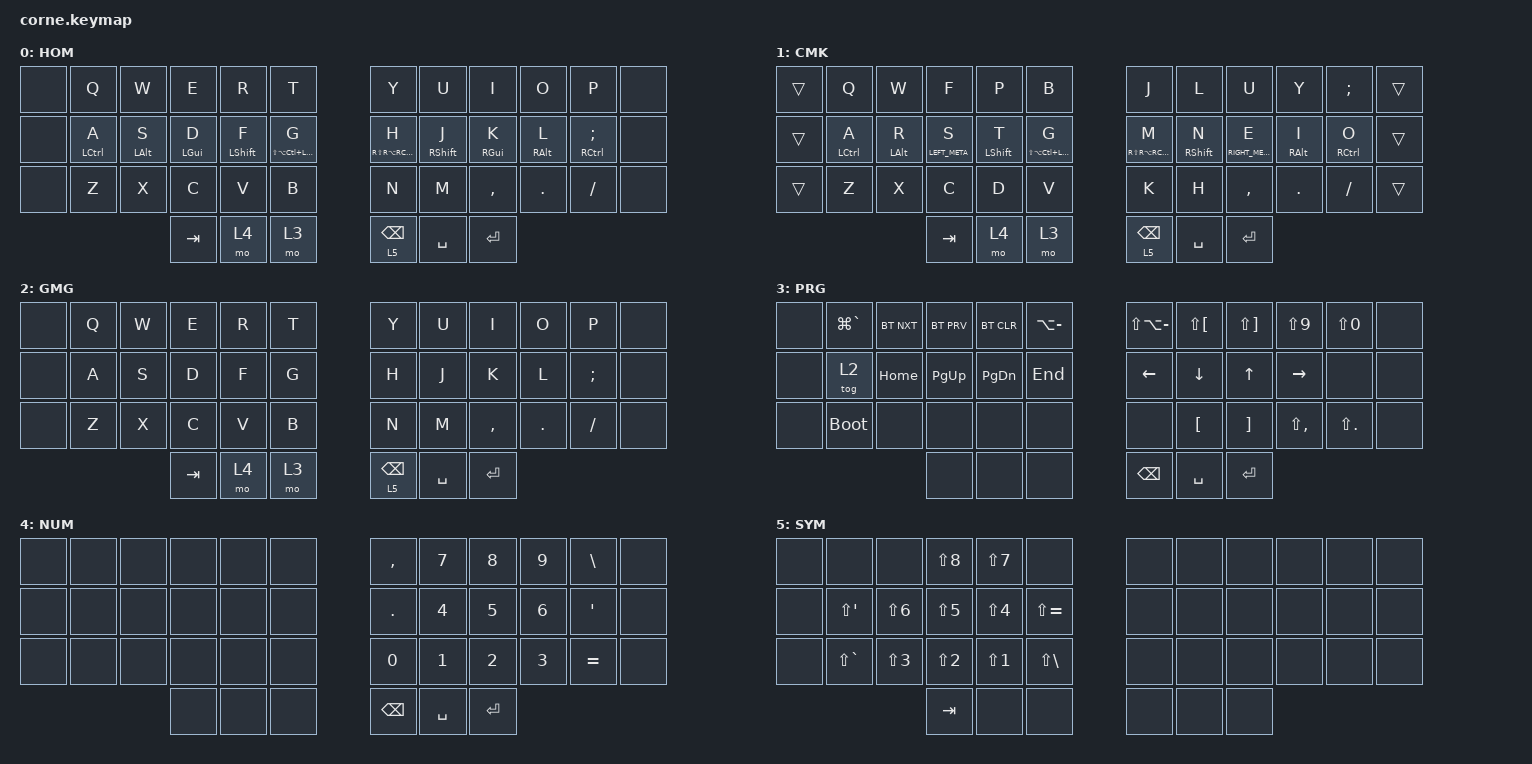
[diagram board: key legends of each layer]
/*
 * Copyright (c) 2020 The ZMK Contributors
 *
 * SPDX-License-Identifier: MIT
 */

#include <behaviors.dtsi>
#include <dt-bindings/zmk/bt.h>
#include <dt-bindings/zmk/keys.h>

&lt {
    quick-tap-ms = <200>;
};

/ {
    combos {
        compatible = "zmk,combos";

        grave {
            bindings = <&kp GRAVE>;
            key-positions = <1 10>;
            layers = <0 2 1>;
        };

        escape {
            bindings = <&kp ESCAPE>;
            key-positions = <13 22>;
            layers = <0 2 1>;
        };

        caps_word {
            bindings = <&caps_word>;
            key-positions = <25 34>;
            layers = <0 2 1>;
        };

        minus {
            bindings = <&kp MINUS>;
            key-positions = <4 7>;
            layers = <0 2 1>;
        };

        underscore {
            bindings = <&kp LS(MINUS)>;
            key-positions = <28 31>;
            layers = <0 2 1>;
        };

        toggle_tarmak {
            bindings = <&tog 1>;
            key-positions = <38 39>;
            layers = <0 1>;
        };
    };

    behaviors {
        left_hand_positional_hold_tap: left_hand_positional_hold_tap {
            compatible = "zmk,behavior-hold-tap";
            label = "LEFT_HAND_POSITIONAL_HOLD_TAP";
            bindings = <&kp>, <&kp>;

            #binding-cells = <2>;
            tapping-term-ms = <280>;
            flavor = "balanced";
            quick-tap-ms = <175>;
            hold-trigger-key-positions = <6 18 30 6 7 8 9 10 18 19 20 21 22 30 31 32 33 34 39 40 41 6 7 8 9 10 11 18 19 20 21 22 23 30 31 32 33 34 35 39 40 41 36 37 38 13 15 14 16>;
            hold-trigger-on-release;
            require-prior-idle-ms = <150>;
        };

        right_hand_positional_hold_tap: right_hand_positional_hold_tap {
            compatible = "zmk,behavior-hold-tap";
            label = "RIGHT_HAND_POSITIONAL_HOLD_TAP";
            bindings = <&kp>, <&kp>;

            #binding-cells = <2>;
            tapping-term-ms = <280>;
            quick-tap-ms = <175>;
            flavor = "balanced";
            hold-trigger-key-positions = <1 2 3 4 5 13 14 15 16 17 25 26 27 28 29 36 37 38 0 1 2 3 4 5 12 13 14 15 16 17 24 25 26 27 28 29 36 37 38 39 40 41 19 20 21 22>;
            hold-trigger-on-release;
            require-prior-idle-ms = <150>;
        };
    };

    keymap {
        compatible = "zmk,keymap";

        home {
            // -----------------------------------------------------------------------------------------
            // |  TAB |  Q  |  W  |  E  |  R  |  T  |   |  Y  |  U   |  I  |  O  |  P  | BKSP |
            // | CTRL |  A  |  S  |  D  |  F  |  G  |   |  H  |  J   |  K  |  L  |  ;  |  '   |
            // | SHFT |  Z  |  X  |  C  |  V  |  B  |   |  N  |  M   |  ,  |  .  |  /  | ESC  |
            //                    | GUI | LWR | SPC |   | ENT | RSE  | ALT |

            bindings = <
&none  &kp Q                                          &kp W                                      &kp E                                      &kp R                                        &kp T                                                    &kp Y                                                    &kp U                                          &kp I                                        &kp O                                        &kp P                                                    &none
&none  &left_hand_positional_hold_tap LEFT_CONTROL A  &left_hand_positional_hold_tap LEFT_ALT S  &left_hand_positional_hold_tap LEFT_GUI D  &left_hand_positional_hold_tap LEFT_SHIFT F  &left_hand_positional_hold_tap LS(LA(LC(LEFT_GUI))) G    &right_hand_positional_hold_tap RS(RA(RC(RIGHT_GUI))) H  &right_hand_positional_hold_tap RIGHT_SHIFT J  &right_hand_positional_hold_tap RIGHT_GUI K  &right_hand_positional_hold_tap RIGHT_ALT L  &right_hand_positional_hold_tap RIGHT_CONTROL SEMICOLON  &none
&none  &kp Z                                          &kp X                                      &kp C                                      &kp V                                        &kp B                                                    &kp N                                                    &kp M                                          &kp COMMA                                    &kp DOT                                      &kp FSLH                                                 &none
                                                                                                 &kp TAB                                    &mo 4                                        &mo 3                                                    &lt 5 BACKSPACE                                          &kp SPACE                                      &kp ENTER
            >;

            label = "HOM";
        };

        colemak {
            bindings = <
&trans  &kp Q                                          &kp W                                      &kp F                                       &kp P                                        &kp B                                                     &kp J                                                     &kp L                                          &kp U                                         &kp Y                                        &kp SEMI                                         &trans
&trans  &left_hand_positional_hold_tap LEFT_CONTROL A  &left_hand_positional_hold_tap LEFT_ALT R  &left_hand_positional_hold_tap LEFT_META S  &left_hand_positional_hold_tap LEFT_SHIFT T  &left_hand_positional_hold_tap LS(LA(LC(LEFT_META))) G    &right_hand_positional_hold_tap RS(RA(RC(RIGHT_META))) M  &right_hand_positional_hold_tap RIGHT_SHIFT N  &right_hand_positional_hold_tap RIGHT_META E  &right_hand_positional_hold_tap RIGHT_ALT I  &right_hand_positional_hold_tap RIGHT_CONTROL O  &trans
&trans  &kp Z                                          &kp X                                      &kp C                                       &kp D                                        &kp V                                                     &kp K                                                     &kp H                                          &kp COMMA                                     &kp DOT                                      &kp FSLH                                         &trans
                                                                                                  &kp TAB                                     &mo 4                                        &mo 3                                                     &lt 5 BACKSPACE                                           &kp SPACE                                      &kp ENTER
            >;

            label = "CMK";
        };

        gaming {
            bindings = <
&none  &kp Q  &kp W  &kp E    &kp R  &kp T    &kp Y            &kp U      &kp I      &kp O    &kp P     &none
&none  &kp A  &kp S  &kp D    &kp F  &kp G    &kp H            &kp J      &kp K      &kp L    &kp SEMI  &none
&none  &kp Z  &kp X  &kp C    &kp V  &kp B    &kp N            &kp M      &kp COMMA  &kp DOT  &kp FSLH  &none
                     &kp TAB  &mo 4  &mo 3    &lt 5 BACKSPACE  &kp SPACE  &kp ENTER
            >;

            label = "GMG";
        };

        programming {
            bindings = <
&none  &kp LG(GRAVE)  &bt BT_NXT  &bt BT_PRV   &bt BT_CLR     &kp LA(MINUS)    &kp LS(LA(MINUS))  &kp LS(LEFT_BRACKET)  &kp LS(RIGHT_BRACKET)  &kp LS(NUMBER_9)  &kp LS(NUMBER_0)  &none
&none  &tog 2         &kp HOME    &kp PAGE_UP  &kp PAGE_DOWN  &kp END          &kp LEFT_ARROW     &kp DOWN_ARROW        &kp UP_ARROW           &kp RIGHT_ARROW   &none             &none
&none  &bootloader    &none       &none        &none          &none            &none              &kp LEFT_BRACKET      &kp RIGHT_BRACKET      &kp LS(COMMA)     &kp LS(PERIOD)    &none
                                  &none        &none          &none            &kp BACKSPACE      &kp SPACE             &kp ENTER
            >;

            label = "PRG";
        };

        numbers {
            bindings = <
&none  &none  &none  &none  &none  &none    &kp COMMA      &kp N7     &kp N8     &kp N9  &kp BACKSLASH     &none
&none  &none  &none  &none  &none  &none    &kp DOT        &kp N4     &kp N5     &kp N6  &kp SINGLE_QUOTE  &none
&none  &none  &none  &none  &none  &none    &kp N0         &kp N1     &kp N2     &kp N3  &kp EQUAL         &none
                     &none  &none  &none    &kp BACKSPACE  &kp SPACE  &kp ENTER
            >;

            label = "NUM";
        };

        symbols {
            bindings = <
&none  &none                 &none             &kp LS(NUMBER_8)  &kp LS(NUMBER_7)  &none                &none  &none  &none  &none  &none  &none
&none  &kp LS(SINGLE_QUOTE)  &kp LS(NUMBER_6)  &kp LS(N5)        &kp LS(NUMBER_4)  &kp LS(EQUAL)        &none  &none  &none  &none  &none  &none
&none  &kp LS(GRAVE)         &kp LS(NUMBER_3)  &kp LS(NUMBER_2)  &kp LS(NUMBER_1)  &kp LS(BACKSLASH)    &none  &none  &none  &none  &none  &none
                                               &kp TAB           &none             &none                &none  &none  &none
            >;

            label = "SYM";
        };
    };
};
